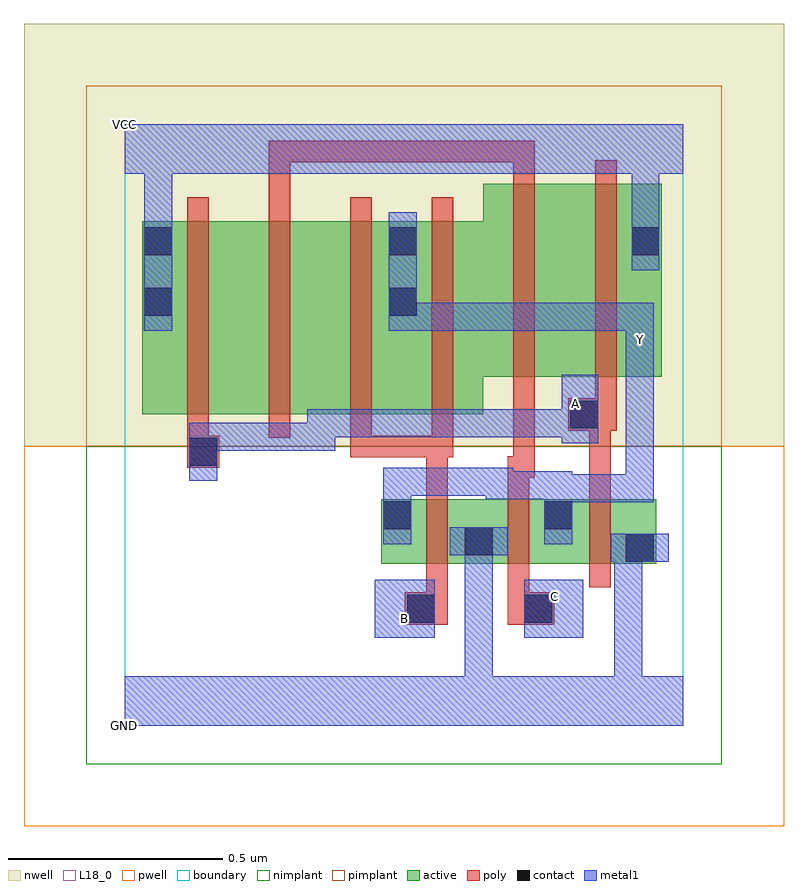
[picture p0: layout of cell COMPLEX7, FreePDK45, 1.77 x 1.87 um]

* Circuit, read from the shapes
.subckt COMPLEX7 A B C GND VCC Y
M1 GND B Y VSUBS nfet w=0.15u l=0.05u
M2 Y C GND VSUBS nfet w=0.15u l=0.05u
M3 GND A Y VSUBS nfet w=0.15u l=0.05u
M4 n1 A VCC n2 pfet w=0.45u l=0.05u
M5 n3 C n1 n2 pfet w=0.45u l=0.05u
M6 Y B n3 n2 pfet w=0.45u l=0.05u
M7 n4 B Y n2 pfet w=0.45u l=0.05u
M8 n5 C n4 n2 pfet w=0.45u l=0.05u
M9 VCC A n5 n2 pfet w=0.45u l=0.05u
.ends

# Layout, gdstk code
import gdstk
lib = gdstk.Library(unit=1e-6, precision=1e-09)
def R(c, l, rs):  # rectangles x0, y0, x1, y1
    for r in rs: c.add(gdstk.rectangle(r[:2], r[2:], *l))
def A(c, l, x, y, w, h, nx, ny, dx, dy):  # array of equal rectangles
    R(c, l, [(x+i*dx, y+j*dy, x+i*dx+w, y+j*dy+h) for i in range(nx) for j in range(ny)])
active = (1, 0)
pwell = (2, 0)
nwell = (3, 0)
nimplant = (4, 0)
pimplant = (5, 0)
poly = (9, 0)
contact = (10, 0)
metal1 = (11, 0)
L18_0 = (18, 0)
boundary = (235, 0)

complex7 = lib.new_cell('COMPLEX7')
R(complex7, active, [(0.597,0.377,0.862,0.527), (0.787,0.377,1.047,0.527), (0.787,0.377,0.862,0.475), (0.972,0.377,1.047,0.527), (0.972,0.377,1.237,0.527), (1.162,0.377,1.237,0.527), (0.597,0.432,0.672,0.527), (0.04,0.725,0.265,1.175), (0.04,0.725,0.115,1.165), (0.265,0.725,0.455,1.175), (0.455,0.725,0.685,1.175), (0.61,0.725,0.835,1.175), (0.61,0.725,0.685,1.165), (0.835,0.812,1.025,1.262), (1.025,0.812,1.25,1.262), (1.175,0.84,1.25,1.262)])
R(complex7, pwell, [(-0.235,-0.235,1.535,0.65)])
R(complex7, nwell, [(-0.235,0.65,1.535,1.635)])
R(complex7, nimplant, [(-0.09,-0.09,1.39,0.65)])
R(complex7, pimplant, [(-0.09,0.65,1.39,1.49)])
A(complex7, poly, 0.702, 0.322, 0.05, 0.26, 3, 1, 0.19, 0)
A(complex7, poly, 0.145, 0.67, 0.05, 0.56, 4, 1, 0.19, 0)
R(complex7, poly, [(0.652,0.235,0.752,0.31), (0.892,0.235,1,0.31), (0.702,0.26,0.752,0.372), (0.892,0.26,0.942,0.372), (0.702,0.532,0.752,0.675), (0.892,0.532,0.942,0.627), (1.082,0.532,1.132,0.737), (0.892,0.577,0.955,0.627), (0.905,0.577,0.955,0.807), (0.145,0.6,0.22,0.675), (0.145,0.625,0.195,0.72), (0.525,0.625,0.575,0.72), (0.525,0.625,0.575,0.675), (0.525,0.625,0.575,0.675), (0.525,0.625,0.575,0.675), (0.525,0.625,0.752,0.675), (0.702,0.625,0.765,0.675), (0.715,0.625,0.765,0.72), (1.032,0.687,1.145,0.762), (1.095,0.712,1.145,0.807), (0.905,0.757,0.955,1.317), (1.095,0.757,1.145,1.317), (0.335,1.18,0.385,1.362), (0.905,1.267,0.955,1.362), (0.335,1.312,0.385,1.362), (0.335,1.312,0.385,1.362), (0.335,1.312,0.385,1.362), (0.335,1.312,0.57,1.362), (0.52,1.312,0.57,1.362), (0.52,1.312,0.57,1.362), (0.52,1.312,0.57,1.362), (0.52,1.312,0.81,1.362), (0.76,1.312,0.955,1.362), (0.76,1.312,0.81,1.362), (0.76,1.312,0.81,1.362), (0.76,1.312,0.81,1.362), (0.905,1.312,0.955,1.362)])
R(complex7, contact, [(0.657,0.24,0.722,0.305), (0.93,0.24,0.995,0.305), (1.167,0.382,1.232,0.447), (0.792,0.397,0.857,0.462), (0.602,0.457,0.667,0.522), (0.977,0.457,1.042,0.522), (0.15,0.605,0.215,0.67), (1.037,0.692,1.102,0.757), (0.045,0.955,0.11,1.02), (0.615,0.955,0.68,1.02), (0.045,1.095,0.11,1.16), (0.615,1.095,0.68,1.16), (1.18,1.095,1.245,1.16)])
R(complex7, metal1, [(0,0,1.3,0.115), (0.792,0.05,0.857,0.115), (0.792,0.05,0.857,0.115), (0.792,0.05,0.857,0.115), (0.792,0.05,0.857,0.115), (0.792,0.05,0.857,0.115), (0.792,0.05,0.857,0.115), (0.792,0.05,0.857,0.462), (1.14,0.05,1.205,0.447), (0.582,0.205,0.722,0.34), (0.93,0.205,1.067,0.34), (1.132,0.382,1.267,0.447), (1.14,0.382,1.205,0.447), (1.14,0.382,1.205,0.447), (1.14,0.382,1.205,0.447), (1.14,0.382,1.205,0.447), (1.14,0.382,1.205,0.447), (1.14,0.382,1.205,0.447), (0.757,0.397,0.892,0.462), (0.602,0.422,0.667,0.557), (0.977,0.422,1.042,0.592), (0.602,0.492,0.667,0.557), (0.602,0.492,0.667,0.6), (0.977,0.52,1.042,0.585), (0.977,0.52,1.042,0.585), (0.977,0.52,1.232,0.585), (1.167,0.52,1.232,0.585), (1.167,0.52,1.232,0.897), (0.84,0.527,1.042,0.592), (0.84,0.527,0.905,0.6), (0.602,0.535,0.905,0.6), (0.84,0.535,0.905,0.6), (0.84,0.535,0.905,0.6), (0.15,0.57,0.215,0.705), (0.15,0.64,0.215,0.705), (0.15,0.64,0.215,0.705), (0.15,0.64,0.352,0.705), (0.287,0.64,0.352,0.705), (0.287,0.64,0.352,0.705), (0.287,0.64,0.352,0.705), (0.287,0.64,0.49,0.705), (0.425,0.64,0.49,0.737), (1.017,0.657,1.102,0.817), (0.425,0.672,0.627,0.737), (0.562,0.672,0.627,0.737), (0.562,0.672,0.627,0.737), (0.562,0.672,0.627,0.737), (0.562,0.672,0.905,0.737), (0.84,0.672,0.905,0.737), (0.84,0.672,0.905,0.737), (0.84,0.672,0.905,0.737), (0.84,0.672,1.042,0.737), (0.977,0.672,1.042,0.737), (0.977,0.672,1.082,0.737), (1.167,0.832,1.232,0.967), (1.167,0.902,1.232,0.985), (0.045,0.92,0.11,1.195), (0.615,0.92,0.68,0.985), (0.615,0.92,0.68,0.985), (0.615,0.92,0.905,0.985), (0.615,0.92,0.68,1.195), (0.84,0.92,0.905,0.985), (0.84,0.92,0.905,0.985), (0.84,0.92,0.905,0.985), (0.84,0.92,1.06,0.985), (0.995,0.92,1.06,0.985), (0.995,0.92,1.232,0.985), (1.167,0.92,1.232,0.985), (1.167,0.92,1.232,0.985), (1.167,0.92,1.232,0.985), (1.18,1.06,1.245,1.195), (0.045,1.13,0.11,1.35), (1.18,1.13,1.245,1.35), (0,1.285,1.3,1.4), (0.045,1.285,0.11,1.35), (0.045,1.285,0.11,1.35), (1.18,1.285,1.245,1.35), (1.18,1.285,1.245,1.35)])
R(complex7, L18_0, [(0,0,1.3,0.115), (0.792,0.05,0.857,0.115), (0.792,0.05,0.857,0.115), (0.792,0.05,0.857,0.115), (0.792,0.05,0.857,0.115), (0.792,0.05,0.857,0.115), (0.792,0.05,0.857,0.115), (0.792,0.05,0.857,0.462), (1.14,0.05,1.205,0.447), (0.582,0.205,0.722,0.34), (0.93,0.205,1.067,0.34), (0.617,0.217,0.682,0.282), (0.967,0.267,1.032,0.332), (1.132,0.382,1.267,0.447), (1.14,0.382,1.205,0.447), (1.14,0.382,1.205,0.447), (1.14,0.382,1.205,0.447), (1.14,0.382,1.205,0.447), (1.14,0.382,1.205,0.447), (1.14,0.382,1.205,0.447), (0.757,0.397,0.892,0.462), (0.602,0.422,0.667,0.557), (0.977,0.422,1.042,0.592), (0.602,0.492,0.667,0.557), (0.602,0.492,0.667,0.6), (0.977,0.52,1.042,0.585), (0.977,0.52,1.042,0.585), (0.977,0.52,1.232,0.585), (1.167,0.52,1.232,0.585), (1.167,0.52,1.232,0.897), (0.84,0.527,1.042,0.592), (0.84,0.527,0.905,0.6), (0.602,0.535,0.905,0.6), (0.84,0.535,0.905,0.6), (0.84,0.535,0.905,0.6), (0.15,0.57,0.215,0.705), (0.15,0.64,0.215,0.705), (0.15,0.64,0.215,0.705), (0.15,0.64,0.352,0.705), (0.287,0.64,0.352,0.705), (0.287,0.64,0.352,0.705), (0.287,0.64,0.352,0.705), (0.287,0.64,0.49,0.705), (0.425,0.64,0.49,0.737), (1.017,0.657,1.102,0.817), (0.425,0.672,0.627,0.737), (0.562,0.672,0.627,0.737), (0.562,0.672,0.627,0.737), (0.562,0.672,0.627,0.737), (0.562,0.672,0.905,0.737), (0.84,0.672,0.905,0.737), (0.84,0.672,0.905,0.737), (0.84,0.672,0.905,0.737), (0.84,0.672,1.042,0.737), (0.977,0.672,1.042,0.737), (0.977,0.672,1.082,0.737), (1.017,0.717,1.082,0.782), (1.167,0.832,1.232,0.967), (1.167,0.867,1.232,0.932), (1.167,0.902,1.232,0.985), (0.045,0.92,0.11,1.195), (0.615,0.92,0.68,1.195), (0.615,0.92,0.68,0.985), (0.615,0.92,0.68,0.985), (0.615,0.92,0.905,0.985), (0.84,0.92,0.905,0.985), (0.84,0.92,0.905,0.985), (0.84,0.92,0.905,0.985), (0.84,0.92,1.06,0.985), (0.995,0.92,1.06,0.985), (0.995,0.92,1.232,0.985), (1.167,0.92,1.232,0.985), (1.167,0.92,1.232,0.985), (1.167,0.92,1.232,0.985), (1.18,1.06,1.245,1.195), (0.045,1.13,0.11,1.35), (1.18,1.13,1.245,1.35), (0,1.285,1.3,1.4), (0.045,1.285,0.11,1.35), (0.045,1.285,0.11,1.35), (1.18,1.285,1.245,1.35), (1.18,1.285,1.245,1.35)])
R(complex7, boundary, [(0,0,1.3,1.4)])
complex7.add(gdstk.Label('A', (1.05,0.75), layer=11, texttype=0))
complex7.add(gdstk.Label('B', (0.65,0.25), layer=11, texttype=0))
complex7.add(gdstk.Label('C', (1,0.3), layer=11, texttype=0))
complex7.add(gdstk.Label('Y', (1.2,0.9), layer=11, texttype=0))
complex7.add(gdstk.Label('VCC', (0,1.4), layer=11, texttype=0))
complex7.add(gdstk.Label('GND', (0,0), layer=11, texttype=0))

lib.write_gds('COMPLEX7.gds')
